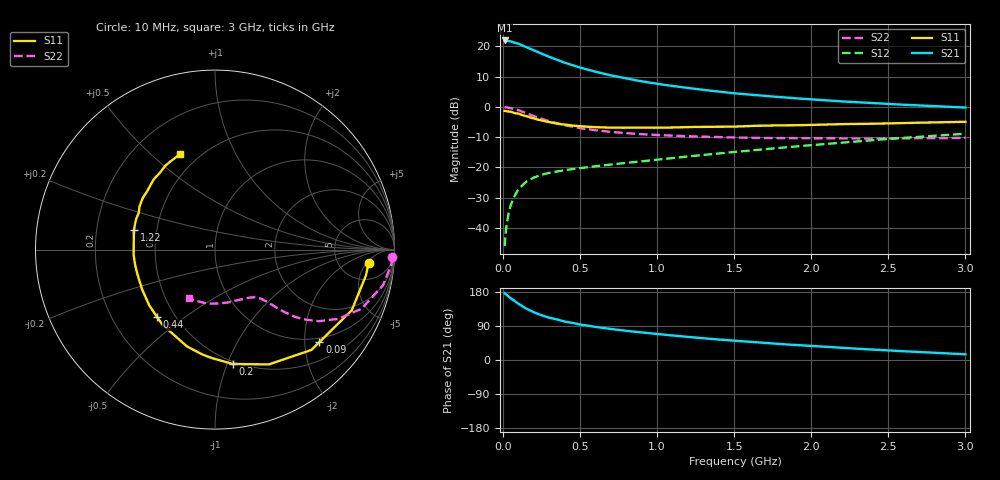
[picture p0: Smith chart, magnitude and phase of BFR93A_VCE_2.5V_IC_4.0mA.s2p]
! Infineon Technologies  Discrete & RF Semiconductors
! BFR93A
! VCE =  2.5 V,  IC =  4.0 mA
! Common Emitter S-Parameters:  Nov 2015
# GHz  S  MA  R  50
!  f  S11  S21  S12  S22
! GHz  MAG  ANG  MAG  ANG  MAG  ANG  MAG  ANG
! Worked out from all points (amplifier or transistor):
!   180 points, 10 MHz to 3 GHz, reference 50 ohm
!   highest |S21| = 21.9 dB at 10 MHz (marker M1)
!   |S21| within 3 dB of that: start of sweep to 187.8 MHz
!   unconditionally stable (mu >= 1): 795.2 MHz to 2.884 GHz
!   at 160 MHz: K = 0.29, MSG = 22.0 dB, |S12| = -24.5 dB
!   at 1.22 GHz: K = 1.13, MAG = 9.0 dB, |S12| = -16.3 dB
!   at 3 GHz: K = 0.98, MSG = 4.3 dB, |S12| = -8.9 dB
!   S11 on the Smith chart (normalised r, x): 10 MHz: 10, -6; 90 MHz: 0.90, -2.34; 200 MHz: 0.48, -1.05; 440 MHz: 0.40, -0.40; 1.22 GHz: 0.37, +0.10; 3 GHz: 0.40, +0.62
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0.01  0.8587 -4.9  12.5 176.3  0.005 87.6  0.9895 -2.5
0.025  0.8467 -11.9  12.37 171.2  0.0121 82.2  0.9798 -6.1
0.05  0.8336 -23.9  12.09 162.7  0.0238 77.4  0.9571 -12.0
0.09  0.7773 -41.5  11.2 151.2  0.0396 68.2  0.8934 -19.9
0.1  0.7755 -46.1  11.06 148.1  0.0437 66.9  0.8803 -22.0
0.15  0.7065 -64.9  9.763 135.6  0.0578 58.7  0.787 -29.4
0.2  0.6448 -81.2  8.589 125.8  0.068 53.3  0.704 -34.5
0.24  0.6038 -91.9  7.741 119.6  0.0741 50.1  0.6475 -37.2
0.26  0.5882 -97.0  7.368 116.7  0.0768 49.0  0.6225 -38.4
0.3  0.5615 -106.2  6.692 111.5  0.0814 47.3  0.5784 -40.2
0.4  0.5104 -125.2  5.362 101.4  0.09 45.1  0.4971 -42.7
0.44  0.4946 -130.8  4.989 98.6  0.0929 44.9  0.4765 -43.2
0.52  0.4752 -142.0  4.321 92.5  0.0987 44.7  0.4386 -44.2
0.6  0.4627 -151.4  3.804 87.3  0.1044 45.2  0.4102 -45.1
0.7  0.4545 -160.6  3.315 81.8  0.1117 46.2  0.3858 -46.2
0.9  0.4543 -175.9  2.64 72.7  0.1264 48.4  0.3532 -49.0
1.02  0.4532 176.8  2.364 67.8  0.136 49.6  0.3417 -51.0
1.22  0.4647 166.3  2.024 60.3  0.1534 51.1  0.3258 -55.6
1.52  0.4739 153.5  1.659 50.3  0.1817 52.5  0.3112 -63.5
2.02  0.5045 136.5  1.318 36.5  0.2355 52.4  0.3016 -79.5
2.52  0.536 122.6  1.112 24.9  0.2972 49.4  0.3018 -97.8
3  0.567 110.0  0.974 15.1  0.3604 44.7  0.3087 -118.4
